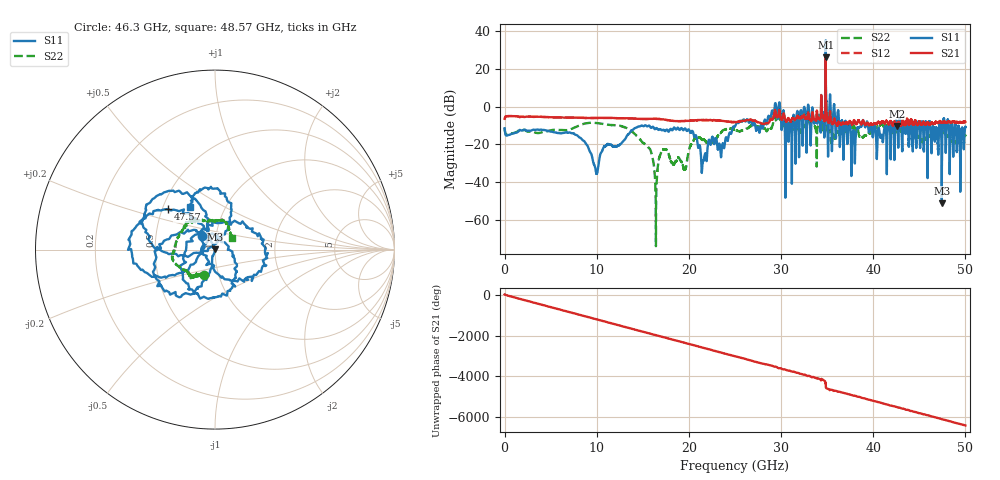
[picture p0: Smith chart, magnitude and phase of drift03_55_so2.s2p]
!Created with skrf (http://scikit-rf.org).
# Hz S RI R 50.0
!freq ReS11 ImS11 ReS21 ImS21 ReS12 ImS12 ReS22 ImS22
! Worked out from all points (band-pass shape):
!   10001 points, 300 kHz to 50 GHz, reference 50 ohm
!   highest |S21| = 26.17 dB at 34.85 GHz (marker M1); lowest = -10.3 dB at 42.55 GHz (marker M2)
!   |S21| within 3 dB of the highest: 34.84363 GHz to 34.84607 GHz (2.443 MHz wide, 0.00701 % of centre)
!   lowest |S11| = -51.3 dB at 47.44 GHz (marker M3), VSWR 1.01, Z = 49.8 + j0.186 ohm
!   |S11| at or under -10 dB: start of sweep to 15.23 GHz; 15.31 GHz to 25.05 GHz (9.738 GHz wide, 48.3 % of centre); 40.22 GHz to 41.61 GHz (1.394 GHz wide, 3.41 % of centre) (the widest 3 of 51)
!   |S22| runs from -74.2 to 17.0 dB; largest |S21 - S12| = 2.9
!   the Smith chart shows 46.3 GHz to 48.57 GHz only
!   S11 on the Smith chart (normalised r, x): 46.3 GHz: 0.85, +0.13; 47.57 GHz: 0.53, +0.27; 48.57 GHz: 0.68, +0.35
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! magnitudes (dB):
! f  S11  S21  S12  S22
! 300 kHz  -11.5  -6.5  -6.5  -11.4
! 8.335 GHz  -17.1  -6.0  -6.0  -9.6
! 9.955 GHz  -35.5  -6.1  -6.1  -8.7
! 11 GHz  -20.8  -6.1  -6.0  -9.5
! 13.96 GHz  -12.2  -6.4  -6.3  -13.8
! 16.67 GHz  -12.4  -6.6  -6.5  -29.8
! 17.34 GHz  -12.8  -6.9  -6.9  -23.0
! 19.55 GHz  -11.7  -7.7  -7.7  -33.2
! 20.21 GHz  -13.9  -7.4  -7.5  -20.3
! 21.55 GHz  -28.7  -7.2  -7.1  -17.7
! 25 GHz  -10.6  -8.3  -8.2  -12.5
! 33.34 GHz  -3.8  -6.7  -6.7  -9.4
! 34.85 GHz  35.1  26.2  25.9  17.0
! 37.83 GHz  -12.7  -8.3  -8.4  -9.7
! 38.82 GHz  -8.7  -8.2  -8.2  -16.2
! 41.67 GHz  -9.2  -9.4  -9.4  -11.6
! 42.55 GHz  -8.3  -10.3  -10.3  -13.3
! 46.3 GHz  -19.5  -8.7  -8.7  -16.3
! 47.44 GHz  -51.3  -8.5  -8.6  -13.4
! 47.57 GHz  -9.2  -8.4  -8.3  -13.4
! 48.57 GHz  -11.2  -8.0  -8.1  -18.7
! 50 GHz  -10.6  -8.2  -8.3  -15.5
